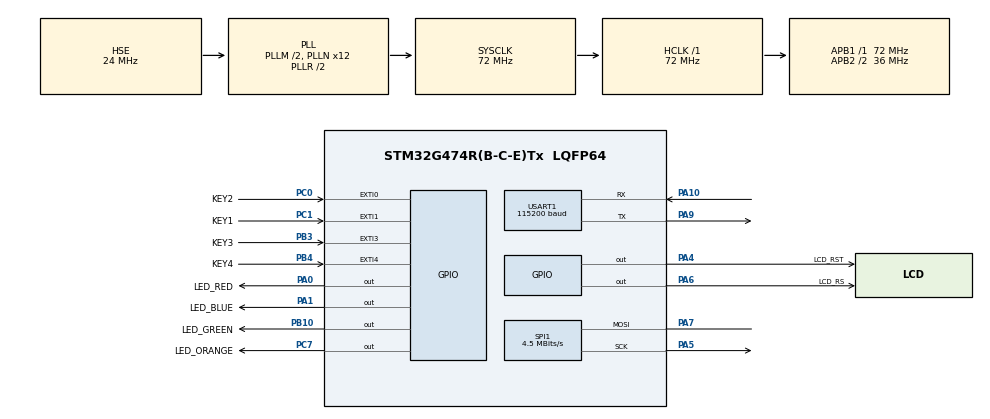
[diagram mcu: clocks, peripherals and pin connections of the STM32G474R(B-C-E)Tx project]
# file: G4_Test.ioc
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ADC5.Channel-2\#ChannelRegularConversion=ADC_CHANNEL_TEMPSENSOR_ADC5
ADC5.NbrOfConversionFlag=1
ADC5.OffsetNumber-2\#ChannelRegularConversion=ADC_OFFSET_NONE
ADC5.Rank-2\#ChannelRegularConversion=1
ADC5.SamplingTime-2\#ChannelRegularConversion=ADC_SAMPLETIME_640CYCLES_5
Dma.Request0=USART1_RX
Dma.USART1_RX.0.Direction=DMA_PERIPH_TO_MEMORY
Dma.USART1_RX.0.EventEnable=DISABLE
Dma.USART1_RX.0.Instance=DMA1_Channel1
Dma.USART1_RX.0.MemDataAlignment=DMA_MDATAALIGN_BYTE
Dma.USART1_RX.0.MemInc=DMA_MINC_ENABLE
Dma.USART1_RX.0.Mode=DMA_NORMAL
Dma.USART1_RX.0.PeriphDataAlignment=DMA_PDATAALIGN_BYTE
Dma.USART1_RX.0.PeriphInc=DMA_PINC_DISABLE
Dma.USART1_RX.0.Polarity=HAL_DMAMUX_REQ_GEN_RISING
Dma.USART1_RX.0.Priority=DMA_PRIORITY_LOW
Dma.USART1_RX.0.RequestNumber=1
Dma.USART1_RX.0.SignalID=NONE
Dma.USART1_RX.0.SyncEnable=DISABLE
Dma.USART1_RX.0.SyncPolarity=HAL_DMAMUX_SYNC_NO_EVENT
Dma.USART1_RX.0.SyncRequestNumber=1
Dma.USART1_RX.0.SyncSignalID=NONE
Mcu.Family=STM32G4
Mcu.Name=STM32G474R(B-C-E)Tx
Mcu.Package=LQFP64
NVIC.DMA1_Channel1_IRQn=true\:1\:0\:true\:false\:true\:false\:true\:true
NVIC.EXTI0_IRQn=true\:15\:0\:true\:false\:true\:true\:true\:true
NVIC.EXTI1_IRQn=true\:15\:0\:true\:false\:true\:true\:true\:true
NVIC.EXTI3_IRQn=true\:15\:0\:true\:false\:true\:true\:true\:true
NVIC.EXTI4_IRQn=true\:15\:0\:true\:false\:true\:true\:true\:true
NVIC.PriorityGroup=NVIC_PRIORITYGROUP_4
NVIC.RTC_Alarm_IRQn=true\:1\:0\:true\:false\:true\:true\:true\:true
NVIC.TIM2_IRQn=true\:0\:0\:false\:false\:true\:true\:true\:true
NVIC.USART1_IRQn=true\:1\:0\:true\:false\:true\:true\:true\:true
PA0.GPIO_Label=LED_RED
PA0.GPIO_PuPd=GPIO_NOPULL
PA0.PinState=GPIO_PIN_RESET
PA0.Signal=GPIO_Output
PA1.GPIO_Label=LED_BLUE
PA1.Signal=GPIO_Output
PA10.Mode=Asynchronous
PA10.Signal=USART1_RX
PA13.Mode=Serial_Wire
PA13.Signal=SYS_JTMS-SWDIO
PA14.Mode=Serial_Wire
PA14.Signal=SYS_JTCK-SWCLK
PA4.GPIO_Label=LCD_RST
PA4.GPIO_PuPd=GPIO_NOPULL
PA4.GPIO_Speed=GPIO_SPEED_FREQ_LOW
PA4.PinState=GPIO_PIN_SET
PA4.Signal=GPIO_Output
PA5.Mode=Simplex_Bidirectional_Master
PA5.Signal=SPI1_SCK
PA6.GPIO_Label=LCD_RS
PA6.GPIO_Speed=GPIO_SPEED_FREQ_VERY_HIGH
PA6.PinState=GPIO_PIN_RESET
PA6.Signal=GPIO_Output
PA7.Mode=Simplex_Bidirectional_Master
PA7.Signal=SPI1_MOSI
PA9.Mode=Asynchronous
PA9.Signal=USART1_TX
PB10.GPIO_Label=LED_GREEN
PB10.PinState=GPIO_PIN_RESET
PB10.Signal=GPIO_Output
PB3.GPIO_Label=KEY3
PB3.Signal=GPXTI3
PB4.GPIO_Label=KEY4
PB4.Signal=GPXTI4
PC0.GPIO_Label=KEY2
PC0.GPIO_ModeDefaultEXTI=GPIO_MODE_IT_FALLING
PC0.Signal=GPXTI0
PC1.GPIO_Label=KEY1
PC1.GPIO_ModeDefaultEXTI=GPIO_MODE_IT_FALLING
PC1.Signal=GPXTI1
PC14-OSC32_IN.Mode=LSE-External-Oscillator
PC14-OSC32_IN.Signal=RCC_OSC32_IN
PC15-OSC32_OUT.Mode=LSE-External-Oscillator
PC15-OSC32_OUT.Signal=RCC_OSC32_OUT
PC7.GPIO_Label=LED_ORANGE
PC7.PinState=GPIO_PIN_SET
PC7.Signal=GPIO_Output
PF0-OSC_IN.Mode=HSE-External-Oscillator
PF0-OSC_IN.Signal=RCC_OSC_IN
PF1-OSC_OUT.Mode=HSE-External-Oscillator
PF1-OSC_OUT.Signal=RCC_OSC_OUT
ProjectManager.HeapSize=0x200
ProjectManager.StackSize=0x400
ProjectManager.TargetToolchain=MDK-ARM V5.32
RCC.ADC12Freq_Value=72000000
RCC.ADC345Freq_Value=72000000
RCC.AHBFreq_Value=72000000
RCC.APB1Freq_Value=72000000
RCC.APB1TimFreq_Value=72000000
RCC.APB2CLKDivider=RCC_HCLK_DIV2
RCC.APB2Freq_Value=36000000
RCC.APB2TimFreq_Value=72000000
RCC.CortexFreq_Value=72000000
RCC.EXTERNAL_CLOCK_VALUE=12288000
RCC.HCLKFreq_Value=72000000
RCC.HSE_VALUE=24000000
RCC.HSI48_VALUE=48000000
RCC.HSI_VALUE=16000000
RCC.PLLM=RCC_PLLM_DIV2
RCC.PLLN=12
RCC.PLLSourceVirtual=RCC_PLLSOURCE_HSE
RCC.RTCClockSelection=RCC_RTCCLKSOURCE_LSE
RCC.SYSCLKFreq_VALUE=72000000
RCC.SYSCLKSource=RCC_SYSCLKSOURCE_PLLCLK
RCC.USBFreq_Value=72000000
RCC.VCOOutputFreq_Value=144000000
RTC.Alarm-Alarm\ A=RTC_ALARM_A
RTC.AlarmMaskDateWeekDay-Alarm\ A=RTC_ALARMMASK_DATEWEEKDAY
RTC.AlarmMaskHours-Alarm\ A=RTC_ALARMMASK_HOURS
RTC.AlarmMaskMinutes-Alarm\ A=RTC_ALARMMASK_MINUTES
RTC.Format=RTC_FORMAT_BIN
RTC.HourFormat=RTC_HOURFORMAT_24
RTC.Hours=11
RTC.Hours_A-Alarm\ A=12
RTC.Minutes=59
RTC.Minutes_A-Alarm\ A=0
RTC.Month=RTC_MONTH_OCTOBER
RTC.Seconds=55
RTC.Seconds_A-Alarm\ A=0
RTC.WeekDay=RTC_WEEKDAY_FRIDAY
RTC.Year=21
SPI1.BaudRatePrescaler=SPI_BAUDRATEPRESCALER_8
SPI1.CLKPolarity=SPI_POLARITY_HIGH
SPI1.CalculateBaudRate=4.5 MBits/s
SPI1.DataSize=SPI_DATASIZE_8BIT
SPI1.Direction=SPI_DIRECTION_1LINE
SPI1.Mode=SPI_MODE_MASTER
SPI1.VirtualType=VM_MASTER
TIM2.PeriodNoDither=9999
TIM2.Prescaler=16999
USART1.BaudRate=115200
USART1.VirtualMode-Asynchronous=VM_ASYNC
VP_ADC5_TempSens_Input.Mode=IN-TempSens
VP_RTC_VS_RTC_Activate.Mode=RTC_Enabled
VP_RTC_VS_RTC_Alarm_A_Intern.Mode=Alarm A
VP_RTC_VS_RTC_Calendar.Mode=RTC_Calendar
VP_SYS_VS_DBSignals.Mode=DisableDeadBatterySignals
VP_TIM2_VS_ClockSourceINT.Mode=Internal
board=custom

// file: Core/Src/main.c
/* USER CODE BEGIN Header */
/**
  ******************************************************************************
  * @file           : main.c
  * @brief          : Main program body
  ******************************************************************************
  * @attention
  *
  * <h2><center>&copy; Copyright (c) 2021 STMicroelectronics.
  * All rights reserved.</center></h2>
  *
  * This software component is licensed by ST under BSD 3-Clause license,
  * the "License"; You may not use this file except in compliance with the
  * License. You may obtain a copy of the License at:
  *                        opensource.org/licenses/BSD-3-Clause
  *
  ******************************************************************************
  */
/* USER CODE END Header */
#include "main.h"
#include "adc.h"
#include "dma.h"
#include "rtc.h"
#include "spi.h"
#include "tim.h"
#include "usart.h"
#include "gpio.h"

/* USER CODE BEGIN Includes */
#include <stdio.h>
#include "spi_tftlcd.h"
#include "GUI.h"
#include "stm32g4xx_hal_flash.h"
#include <string.h>
#include <stdlib.h>
/* USER CODE END Includes */

/* USER CODE BEGIN PD */
#ifdef DEFAULT
char *strx, *extstrx, *Readystrx;
char RxBuffer[1024], Rxcouter;
char *strstr(const char *, const char *);
uint8_t Res;
#endif

// UART variables
static uint8_t time_buffer[TIME_BUFFER_SIZE];
static uint8_t date_buffer[DATE_BUFFER_SIZE];
static uint8_t temp_buffer[TEMP_BUFFER_SIZE];
// Temp variables
static uint8_t update_temp;         // flag of updating temperature
static uint8_t display_temp;        // flag of displaying temperature
// LED variables
static uint8_t rgb_led_flag;        // flag of LED, 0-close, 1-RED, 2-GREEN, 3-BLUE
// RTC variables
RTC_DateTypeDef rtc_date;
RTC_TimeTypeDef rtc_time;
static uint8_t set_rtc_buffer[6];   // 6 parameters, year, month, day, hour, mintue, second
// FLASH variables
static uint8_t write_flash_flag;    // flag of writing data to flash
static uint8_t flash_buffer[BUFFER_SIZE];
static uint8_t flash_cot;           // max = 20
uint64_t write_flash_data = 0x3031323334353637;
uint32_t flash_addr = 0x0803F800;   // flash address, 0x08000000 - 0x080007FF 2k bank1 Page0
/* USER CODE END PD */

void SystemClock_Config(void);
/* USER CODE BEGIN PFP */
#ifdef DEFAULT
// ��ջ�����
void Clear_Buffer(void)
{
  uint8_t i;

  for (i = 0; i < Rxcouter; i++)
    RxBuffer[i] = 0;

  Rxcouter=0;
}
#endif

// UART output function
void UART_SendString(UART_HandleTypeDef *huart, char *str)
{
  if (HAL_UART_Transmit(huart, (uint8_t *)str, (uint16_t) strlen(str), HAL_MAX_DELAY) != HAL_OK) {
    printf("uart send string error\r\n");
    // Error_Handler();
  }
}

// get RTC datetime
void Get_RTC_Datetime(void)
{
  HAL_RTC_GetTime(&hrtc, &rtc_time, RTC_FORMAT_BIN);
  HAL_RTC_GetDate(&hrtc, &rtc_date, RTC_FORMAT_BIN);
}

// display default information (Student ID, Date, Time)
void Display_Default_Info(void)
{
  Gui_DrawFont_GBK16(16, 20, BLUE, WHITE, (uint8_t *)"Student ID: 20221211");

  sprintf((char *)time_buffer, "Time: %02d:%02d:%02d\r\n", rtc_time.Hours, rtc_time.Minutes, rtc_time.Seconds);
  sprintf((char *)date_buffer, "Date: %04d-%02d-%02d\r\n", 2000 + rtc_date.Year, rtc_date.Month, rtc_date.Date);
  Gui_DrawFont_GBK16(80, 40, RED, WHITE, time_buffer);
  Gui_DrawFont_GBK16(80, 60, RED, WHITE, date_buffer);
}

// get temperature
float Get_Temp(void)
{
  uint16_t TS_CAL1, TS_CAL2;
  float temp;

  HAL_ADC_Start(&hadc5);
  HAL_ADC_PollForConversion(&hadc5, HAL_MAX_DELAY);
  temp = HAL_ADC_GetValue(&hadc5);
  TS_CAL1 = *(__IO uint16_t *)(0x1FFF75A8);
  TS_CAL2 = *(__IO uint16_t *)(0x1FFF75CA);
  temp = (130.0f - 30.0f) / (TS_CAL2 - TS_CAL1) * (temp - TS_CAL1) + 30.0f;
  return temp;
}

// trigger RTC Alarm each 5s
void RTC_Set_AlarmA(uint8_t sec)
{
	rtc_alarm.AlarmTime.Seconds = sec + 5;
  if (rtc_alarm.AlarmTime.Seconds >= 60) rtc_alarm.AlarmTime.Seconds -= 60;
  HAL_RTC_SetAlarm_IT(&hrtc, &rtc_alarm, RTC_FORMAT_BIN);
}

uint8_t Get_Month_BCD(uint8_t month)
{
  uint8_t month_bcd;
  switch (month)
  {
  case 1:
    month_bcd = RTC_MONTH_JANUARY;
    break;
  case 2:
    month_bcd = RTC_MONTH_FEBRUARY;
    break;
  case 3:
    month_bcd = RTC_MONTH_MARCH;
    break;
  case 4:
    month_bcd = RTC_MONTH_APRIL;
    break;
  case 5:
    month_bcd = RTC_MONTH_MAY;
    break;
  case 6:
    month_bcd = RTC_MONTH_JUNE;
    break;
  case 7:
    month_bcd = RTC_MONTH_JULY;
    break;
  case 8:
    month_bcd = RTC_MONTH_AUGUST;
    break;
  case 9:
    month_bcd = RTC_MONTH_SEPTEMBER;
    break;
  case 10:
    month_bcd = RTC_MONTH_OCTOBER;
    break;
  case 11:
    month_bcd = RTC_MONTH_NOVEMBER;
    break;
  case 12:
    month_bcd = RTC_MONTH_DECEMBER;
    break;
  default:
    month_bcd = RTC_MONTH_DECEMBER;
    break;
  }
  return month_bcd;
}

// Set RTC Datetime, 2022-01-10 23:50:00
void RTC_Set_Datetime(uint8_t year, uint8_t month, uint8_t date, uint8_t hours, uint8_t mintues, uint8_t seconds)
{
  if (HAL_RTC_DeactivateAlarm(&hrtc, RTC_ALARM_A) != HAL_OK) {
    // Error_Handler();
    printf("deactivete alarm error.\r\n");
  }

  RTC_TimeTypeDef sTime = {0};
  RTC_DateTypeDef sDate = {0};
  uint8_t month_bcd = Get_Month_BCD(month);

  sTime.Hours = hours;
  sTime.Minutes = mintues;
  sTime.Seconds = seconds;
  sTime.SubSeconds = 0;
  sTime.DayLightSaving = RTC_DAYLIGHTSAVING_NONE;
  sTime.StoreOperation = RTC_STOREOPERATION_RESET;
  if (HAL_RTC_SetTime(&hrtc, &sTime, RTC_FORMAT_BIN) != HAL_OK)
  {
    // Error_Handler();
    printf("set rtc time error.\r\n");
  }
  sDate.WeekDay = RTC_WEEKDAY_FRIDAY;
  sDate.Month = month_bcd;
  sDate.Date = date;
  sDate.Year = year;
  if (HAL_RTC_SetDate(&hrtc, &sDate, RTC_FORMAT_BIN) != HAL_OK)
  {
    // Error_Handler();
    printf("set rtc date error.\r\n");
  }
  printf("set rtc success.\r\n");
}

void Erase_Flash() {
  HAL_FLASH_Unlock();

  FLASH_EraseInitTypeDef f;
	f.TypeErase = FLASH_TYPEERASE_PAGES;
	f.Banks = FLASH_BANK_1;
  f.Page = 126;
	f.NbPages = 2;
	uint32_t PageError = 0;
	if (HAL_FLASHEx_Erase(&f, &PageError) != HAL_OK) {
    printf("erase error\r\n");
    // Error_Handler();
  }

  HAL_FLASH_Lock();
}

void Write_Flash(uint32_t flash_addr, uint64_t write_flash_data)
{
  HAL_FLASH_Unlock();

  if (HAL_FLASH_Program(TYPEPROGRAM_DOUBLEWORD, flash_addr, write_flash_data) != HAL_OK) {
    printf("write error\r\n");
    // Error_Handler();
  }

  HAL_FLASH_Lock();
}

#define BYTE_COT 16
void Read_Flash(uint32_t write_flash_addr)
{
  uint8_t dis[BYTE_COT];
  for (int i = 0; i < BYTE_COT; i++) {
    dis[i] = *(__IO uint8_t*)(write_flash_addr + i);
  }
  printf(
    "20%c%c-%c%c-%c%c %c%c:%c%c:%c%c %c%c%c%c C\r\n",
    dis[0], dis[1], dis[2], dis[3], dis[4], dis[5], dis[6], dis[7],
    dis[8], dis[9], dis[10], dis[11], dis[12], dis[13], dis[14], dis[15]
  );
  // printf(
  //   "%c%c:%c%c:%c%c %c%c C\r\n",
  //   (char)dis[0], (char)dis[1], (char)dis[2], (char)dis[3],
  //   (char)dis[4], (char)dis[5], (char)dis[6], (char)dis[7]
  // );
}
/* USER CODE END PFP */

int main(void)
{

  /* MCU Configuration--------------------------------------------------------*/

  /* Reset of all peripherals, Initializes the Flash interface and the Systick. */
  HAL_Init();

  /* Configure the system clock */
  SystemClock_Config();

  /* Initialize all configured peripherals */
  MX_GPIO_Init();
  MX_DMA_Init();
  MX_SPI1_Init();
  MX_USART1_UART_Init();
  MX_TIM2_Init();
  MX_ADC5_Init();
  MX_RTC_Init();
  /* USER CODE BEGIN 2 */
  /* Question 1 */
  HAL_ADCEx_Calibration_Start(&hadc5, ADC_SINGLE_ENDED);
  HAL_Delay(100);
  float temp = Get_Temp();

  Lcd_Init();
	Lcd_Clear(WHITE);
  Get_RTC_Datetime();
  Display_Default_Info();

  Erase_Flash();

  /* get time and date*/
#ifdef QUESTION_2
  Get_RTC_DateTime();
  mem_second = rtc_time.Seconds;
  if (mem_second >= 55) mem_second = mem_second - 60;
#endif

  /*
   * reference code
   */
  // MX_RTC_Init();
  // MX_DMA_Init();
  // MX_ADC5_Init();
  // HAL_ADCEx_Calibration_Start(&hadc5, ADC_SINGLE_ENDED);
  // HAL_ADC_Start_DMA(&hadc5, (uint32_t *) ADC_Value, 3);

  // key_value = KEY_Scan(0);
  // if (key_value == KEY1_PRES)
  // {
  //   flag_user = 1;
  // }
  // HAL_UART_Receive_IT(&huart1, &recive, 1);
  // if (recive)
  // {
  //   recive = 0;
  //   UART_sendstring(1, usrt_buf);
  // }
  // Gui_DrawFont_GBK16(180, 40, RED, GRAY0, "Time:");
  // Gui_DrawFont_GBK16(180, 60, RED, GRAY0, "Freq:");

  // HAL_RTC_GetTime(&hrtc, &sTime, RTC_FORMAT_BIN);
  // HAL_RTC_GetDate(&hrtc, &sDate, RTC_FORMAT_BIN);
  // if (sTime.Seconds != Seconds) time_s++;
  // if (time_s % 5 == 0 && temp_flag == 1)
  // {
  //   temp_flag = 0;
  //   temp = get_temp();
  //   sprintf(temp_buf, "Temp: %.1f C\r\n", temp);
  //   UART_sendstring(1, temp_buf);
  // }
  // if (time_s % 5 != 0) temp_flag = 1;

  // if (time_s == 10)
  // {
  //   time_s = 0;
  //   data = temp;
  //   flash_page_erase(num, 2);

  //   flash_write(0 + num * 32, 2, data);
  //   data = sTime.Hours;
  //   flash_write(8 + num * 32, 2, data);

  //   data = sTime.Minutes;
  //   flash_write(16 + num * 32, 2, data);

  //   data = sTime.Seconds
  //   flash_write(24 + num * 32, 2, data);

  //   num++;
  //   if (num == 20) num = 0;
  // }

  // sprintf(time_buf, "Time: %02d:%02d:%02d\r\n", sTime.Hours, sTime.Minutes, sTime.Seconds);
  // sprintf(date_buf, "Date: %02d.%02d.%02d\r\n", 2000 + sDate.year, sDate.Month, sDate.Date);
  // Gui_DrawFont_GBK16(80, 40, RED, WHITE, time_buf);
  // Gui_DrawFont_GBK16(80, 60, RED, WHITE, date_buf);
  // if (flag_usr == 1)
  // {
  //   Gui_DrawFont_GBK16(80, 80, RED, WHITE, temp_buf);
  // }
  // Seconds = sTime.Seconds;

#ifdef DEFAULT
  HAL_UART_Receive_IT(&huart1, &Res, 1);
	HAL_TIM_Base_Start_IT(&htim2);
	Lcd_Init();
	Lcd_Clear(WHITE);

	Gui_DrawFont_GBK16(60,120,RED,GRAY0,(uint8_t *)"L610 Module checking");      // L610 Check
	HAL_Delay(3000);

	//	test uart output
	printf("AT\r\n");
	HAL_Delay(1000);
	strx=strstr((const char*)RxBuffer,(const char*)"OK");
	while(strx==NULL)
	{
		Clear_Buffer();
		printf("AT\r\n");
		HAL_Delay(1000);
		strx=strstr((const char*)RxBuffer,(const char*)"OK");
	}
	Lcd_Clear(WHITE);
	Gui_DrawFont_GBK16(60,120,RED,GRAY0,(uint8_t *)"Check success");
	HAL_Delay(2000);
	Clear_Buffer();
#endif
  /* USER CODE END 2 */

  /* Infinite loop */
  /* USER CODE BEGIN WHILE */
#ifdef DEFAULT
	Lcd_Clear(WHITE);
#endif

  while (1)
  {
    /* USER CODE END WHILE */

    /* USER CODE BEGIN 3 */
    /* Question 2 */
// #ifdef QUESTION_2
    Get_RTC_Datetime();
    Display_Default_Info();
// #endif
    if (display_temp == 1) {  // display temperature
      memset(temp_buffer, 0, TEMP_BUFFER_SIZE);    // clear temperature buffer
      sprintf((char *)temp_buffer, "Temp: %4.1f C\r\n", temp);
      Gui_DrawFont_GBK16(80, 80, RED, WHITE, temp_buffer);    // display temperature
    } else {
      Gui_DrawFont_GBK16(80, 80, WHITE, WHITE, temp_buffer);    // clear temperature
    }

    if (update_temp == 1) {   // update temperature
      temp = Get_Temp();
      memset(tx_buffer, 0, TX_BUFFER_SIZE);  // clear tx buffer
      sprintf(
        (char *)tx_buffer, "Date: %04d-%02d-%02d Time: %02d:%02d:%02d, Temp: %.1f C\r\n",
        2000 + rtc_date.Year, rtc_date.Month, rtc_date.Date,
        rtc_time.Hours, rtc_time.Minutes, rtc_time.Seconds, temp
      );
      UART_SendString(&huart1, (char *) tx_buffer);
      update_temp = 0;    // clear the temperature flag
    }

    if (rx_flag == 1) {
      if (rx_cot == 2) {
        int idx = atoi((char *)rx_buffer);
        // TODO: read_flash
        // read_flash
        printf("#%02d ", idx);
        Read_Flash(flash_addr + idx * 16);
      } else if (rx_cot == 19) {
        // Test function: print the received data
        // UART_SendString(&huart1, (char *)rx_buffer);
        int i = 0;
        char *s = strtok((char *)rx_buffer,"- :");  // separate symbol "- :"
        while (s != NULL) {
			    set_rtc_buffer[i] = atoi(s);    // 2022-01-10 23:50:00
          i++;
          s = strtok(NULL, "- :");    // get other sub_string
			  }
        set_rtc_buffer[0] -= 2000;
			  RTC_Set_Datetime(
          set_rtc_buffer[0], set_rtc_buffer[1], set_rtc_buffer[2],
          set_rtc_buffer[3], set_rtc_buffer[4], set_rtc_buffer[5]
        );    // set RTC datetime
        // test function
			  // printf(
        //   "%02d-%02d-%02d %02d:%02d:%02d  set success!\r\n",
        //   set_rtc_buffer[0], set_rtc_buffer[1], set_rtc_buffer[2],
        //   set_rtc_buffer[3],set_rtc_buffer[4], set_rtc_buffer[5]
        // );
        Get_RTC_Datetime();
        RTC_Set_AlarmA(set_rtc_buffer[5]);
        // test function
        // printf(
        //   "Date: %04d.%02d.%02d, Time: %02d:%02d:%02d\r\n",
        //   2000 + rtc_date.Year, rtc_date.Month, rtc_date.Date,
        //   rtc_time.Hours, rtc_time.Minutes, rtc_time.Seconds
        // );
      }
      rx_flag = 0; // clear RX flag
      // clear buffer
      memset(rx_buffer, 0, RX_BUFFER_SIZE);
      rx_cot = 0;
      // restart the DMA transfer, and 255 words each time
      HAL_UART_Receive_DMA(&huart1, rx_buffer, RX_BUFFER_SIZE);
    }

    if (write_flash_flag == 2) {
      // TODO: write flash
      memset(flash_buffer, 0, BUFFER_SIZE);
      sprintf(
        (char *)flash_buffer, "%02d%02d%02d%02d%02d%02d%4.1f",
        rtc_date.Year, rtc_date.Month, rtc_date.Date,
        rtc_time.Hours, rtc_time.Minutes, rtc_time.Seconds, temp
      );
      // printf("Second: %02d, #%02d write flash\r\n", rtc_time.Seconds, flash_cot);   // Test function
      // UART_SendString(&huart1, (char *)flash_buffer);
      // printf("%x\r\n", write_flash_data);
      Write_Flash(flash_addr + flash_cot * 16, *(uint64_t *)flash_buffer);
      Write_Flash(flash_addr + flash_cot * 16 + 8, *((uint64_t *)(flash_buffer + 8)));
      // printf("0x%x\r\n", flash_addr + flash_cot * 8);
      // Read_Flash(flash_addr + flash_cot * 8);

      flash_cot++;    // update
      if (flash_cot == 20) flash_cot = 0;
      write_flash_flag = 0;
    }

#ifdef DEFAULT
		LED_RED_TOGGLE();
		HAL_Delay(500);

		Gui_DrawFont_GBK16(60,120,RED,GRAY0,(uint8_t *)"Start your work!");
#endif
  }
  /* USER CODE END 3 */
}

void SystemClock_Config(void)
{
  RCC_OscInitTypeDef RCC_OscInitStruct = {0};
  RCC_ClkInitTypeDef RCC_ClkInitStruct = {0};

  /** Configure the main internal regulator output voltage
  */
  HAL_PWREx_ControlVoltageScaling(PWR_REGULATOR_VOLTAGE_SCALE1);

  /** Configure LSE Drive Capability
  */
  HAL_PWR_EnableBkUpAccess();
  __HAL_RCC_LSEDRIVE_CONFIG(RCC_LSEDRIVE_LOW);

  /** Initializes the RCC Oscillators according to the specified parameters
  * in the RCC_OscInitTypeDef structure.
  */
  RCC_OscInitStruct.OscillatorType = RCC_OSCILLATORTYPE_HSE|RCC_OSCILLATORTYPE_LSE;
  RCC_OscInitStruct.HSEState = RCC_HSE_ON;
  RCC_OscInitStruct.LSEState = RCC_LSE_ON;
  RCC_OscInitStruct.PLL.PLLState = RCC_PLL_ON;
  RCC_OscInitStruct.PLL.PLLSource = RCC_PLLSOURCE_HSE;
  RCC_OscInitStruct.PLL.PLLM = RCC_PLLM_DIV2;
  RCC_OscInitStruct.PLL.PLLN = 12;
  RCC_OscInitStruct.PLL.PLLP = RCC_PLLP_DIV2;
  RCC_OscInitStruct.PLL.PLLQ = RCC_PLLQ_DIV2;
  RCC_OscInitStruct.PLL.PLLR = RCC_PLLR_DIV2;
  if (HAL_RCC_OscConfig(&RCC_OscInitStruct) != HAL_OK)
  {
    Error_Handler();
  }

  /** Initializes the CPU, AHB and APB buses clocks
  */
  RCC_ClkInitStruct.ClockType = RCC_CLOCKTYPE_HCLK|RCC_CLOCKTYPE_SYSCLK
                              |RCC_CLOCKTYPE_PCLK1|RCC_CLOCKTYPE_PCLK2;
  RCC_ClkInitStruct.SYSCLKSource = RCC_SYSCLKSOURCE_PLLCLK;
  RCC_ClkInitStruct.AHBCLKDivider = RCC_SYSCLK_DIV1;
  RCC_ClkInitStruct.APB1CLKDivider = RCC_HCLK_DIV1;
  RCC_ClkInitStruct.APB2CLKDivider = RCC_HCLK_DIV2;

  if (HAL_RCC_ClockConfig(&RCC_ClkInitStruct, FLASH_LATENCY_2) != HAL_OK)
  {
    Error_Handler();
  }
}

/* USER CODE BEGIN 4 */
// UART IRQ callback function
void HAL_UART_RxCpltCallback(UART_HandleTypeDef *huart)
{
  UNUSED(huart);
#ifdef DEFAULT
  if(huart->Instance == USART1)
  {
    RxBuffer[Rxcouter++] = Res;
    HAL_UART_Receive_IT(&huart1, (uint8_t *)&Res, 1);
  }
#endif
}

// TIMER IRQ callback function
void HAL_TIM_PeriodElapsedCallback(TIM_HandleTypeDef *htim)
{
#ifdef DEFAULT
   if(htim->Instance == TIM2)
   {
   }
#endif
}

// GPIO EXTI IRQ callback function
void HAL_GPIO_EXTI_Callback(uint16_t GPIO_Pin)
{
  UNUSED(GPIO_Pin);

  switch(GPIO_Pin) {
  case KEY1_Pin:
    display_temp = (display_temp) ? 0 : 1;
    // display_temp = 1;
    break;
  case KEY2_Pin:
    rgb_led_flag = (++rgb_led_flag) % 4;
    // HAL_GPIO_TogglePin(LED_RED_GPIO_Port, LED_RED_Pin);
    switch (rgb_led_flag) {
    case 1:
      LED_RED_ON();
      LED_GREEN_OFF();
      LED_BLUE_OFF();
      break;
    case 2:
      LED_RED_ON();
      LED_GREEN_ON();
      LED_BLUE_OFF();
      break;
    case 3:
      LED_RED_OFF();
      LED_GREEN_OFF();
      LED_BLUE_ON();
      break;
    default:
      LED_RED_OFF();
      LED_GREEN_OFF();
      LED_BLUE_OFF();
      break;
    }
    break;
  case KEY3_Pin:
    break;
  default:
    break;
  }
}

// rtc alarmA callback function
void HAL_RTC_AlarmAEventCallback(RTC_HandleTypeDef *hrtc)
{
	Get_RTC_Datetime();   // update datetime
  // printf("Second: %02d, display temp\r\n", rtc_time.Seconds);    // test function
  update_temp = 1;
  write_flash_flag++;
	RTC_Set_AlarmA(rtc_time.Seconds);
}
/* USER CODE END 4 */

void Error_Handler(void)
{
  __disable_irq();
  while (1)
  {
  }
}
